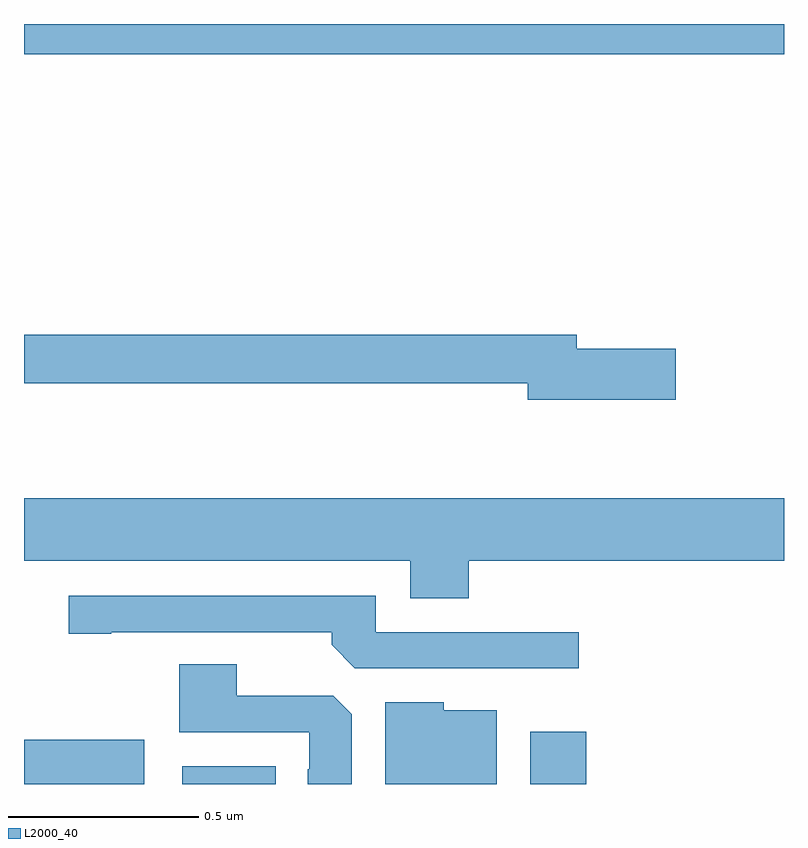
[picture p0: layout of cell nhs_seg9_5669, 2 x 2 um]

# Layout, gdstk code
import gdstk
lib = gdstk.Library(unit=1e-6, precision=1e-09)
def R(c, l, rs):  # rectangles x0, y0, x1, y1
    for r in rs: c.add(gdstk.rectangle(r[:2], r[2:], *l))
def P(c, l, *ps):  # polygons
    for p in ps: c.add(gdstk.Polygon(p, *l))
L2000_40 = (2000, 40)

nhs_seg9_5669 = lib.new_cell('nhs_seg9_5669')
R(nhs_seg9_5669, L2000_40, [(182,1194.5,182.317,1194.616), (182.417,1194.5,182.662,1194.547), (183.332,1194.5,183.479,1194.637), (182,1196.42,184,1196.5)])
P(nhs_seg9_5669, L2000_40, [(183.715,1195.646),(183.454,1195.646),(183.454,1195.682),(182,1195.682),(182,1195.554),(183.326,1195.554),(183.326,1195.511),(183.715,1195.511)],
  [(183.17,1195.088),(184,1195.088),(184,1195.252),(182,1195.252),(182,1195.088),(183.017,1195.088),(183.017,1194.989),(183.17,1194.989)],
  [(183.46,1194.9),(182.925,1194.9),(182.925,1194.996),(182.118,1194.996),(182.118,1194.895),(182.23,1194.895),(182.23,1194.9),(182.81,1194.9),(182.81,1194.866),(182.871,1194.804),(183.46,1194.804)],
  [(182.863,1194.683),(182.814,1194.732),(182.56,1194.732),(182.56,1194.815),(182.408,1194.815),(182.408,1194.636),(182.751,1194.636),(182.751,1194.539),(182.747,1194.539),(182.747,1194.5),(182.863,1194.5)],
  [(183.244,1194.694),(183.105,1194.694),(183.105,1194.715),(182.951,1194.715),(182.951,1194.5),(183.244,1194.5)])

lib.write_gds('nhs_seg9_5669.gds')
